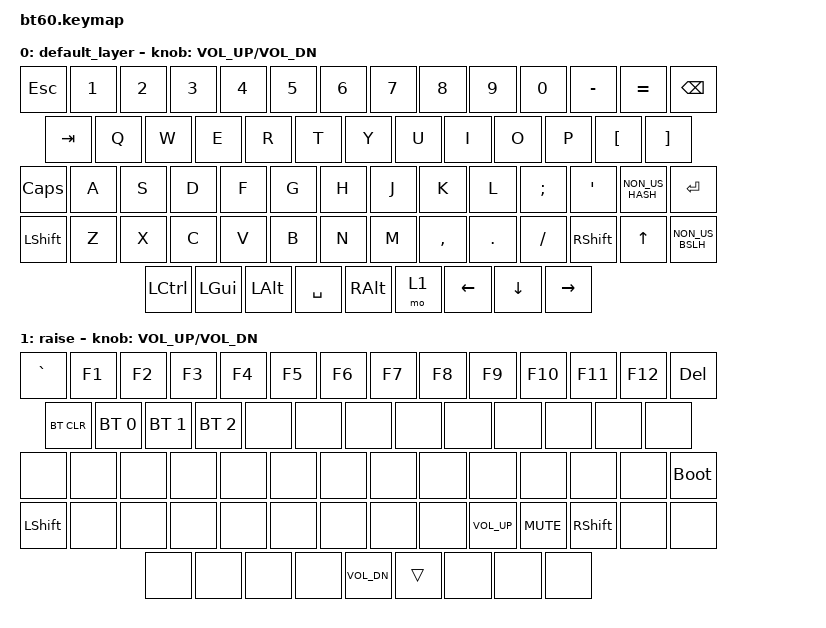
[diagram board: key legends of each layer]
#include <behaviors.dtsi>
#include <dt-bindings/zmk/keys.h>
#include <dt-bindings/zmk/bt.h>

/ {
	keymap {
		compatible = "zmk,keymap";

		default_layer {
				// ------------------------------------------------------------------------------------------
				// | ESC |  1  |  2  |  3  |  4  |  5  |  6  |  7  |  8  |  9  |  0  |  -  |  =  |   BKSP   |
				// | TAB |  Q  |  W  |  E  |  R  |  T  |  Y  |  U  |  I  |  O  |  P  |  [  |  ]  |
				// | CAPS |  A  |  S  |  D  |  F  |  G  |  H  |  J  |  K  |  L  | ; | ' | NON_US_HASH | ENTER |
				// |  SHIFT  |  Z  |  X  |  C  |  V  |  B  |  N  |  M  | , | . | / | RSHIFT | UP | NON_US_BSLH |
				// | CTL | WIN | ALT |              SPACE              | ALT |  1  | LEFT | DOWN | RIGHT |
				// ------------------------------------------------------------------------------------------
			bindings = <
				&kp ESC &kp N1 &kp N2 &kp N3 &kp N4 &kp N5 &kp N6 &kp N7 &kp  N8   &kp  N9 &kp  N0  &kp MINUS &kp EQUAL &kp BSPC
				&kp TAB  &kp Q  &kp W  &kp E  &kp R  &kp T  &kp Y  &kp U  &kp  I    &kp  O  &kp  P   &kp LBKT &kp RBKT  
				&kp CLCK  &kp A  &kp S  &kp D  &kp F  &kp G  &kp H  &kp J  &kp  K    &kp  L  &kp SEMI &kp SQT &kp NON_US_HASH &kp RET
				&kp LSHFT  &kp Z  &kp X  &kp C  &kp V  &kp B  &kp N  &kp M  &kp COMMA &kp DOT &kp FSLH &kp RSHIFT &kp UP &kp NON_US_BSLH 
				&kp LCTRL &kp LGUI &kp LALT            &kp SPACE                          &kp RALT &mo 1 &kp LEFT &kp DOWN &kp RIGHT
			>;
			sensor-bindings = <&inc_dec_kp C_VOL_UP C_VOL_DN>;
		};
		raise {
			bindings = <
				&kp GRAVE &kp F1 &kp F2 &kp F3 &kp F4 &kp F5 &kp F6 &kp F7 &kp F8 &kp F9 &kp F10 &kp F11 &kp F12 &kp DEL
				&bt BT_CLR &bt BT_SEL 0  &bt BT_SEL 1  &bt BT_SEL 2 &none &none &none &none &none &none &none &none &none
				&none    &none  &none  &none  &none  &none  &none  &none  &none  &none  &none  &none  &none    &bootloader
				&kp LSHFT &none  &none  &none  &none  &none  &none  &none  &none  &kp C_VOL_UP &kp C_MUTE &kp RSHIFT &none &none
				&none  &none  &none                       &none                     &kp C_VOL_DN  &trans  &none &none &none  
			>;
			sensor-bindings = <&inc_dec_kp C_VOL_UP C_VOL_DN>;
		};
	};
};
